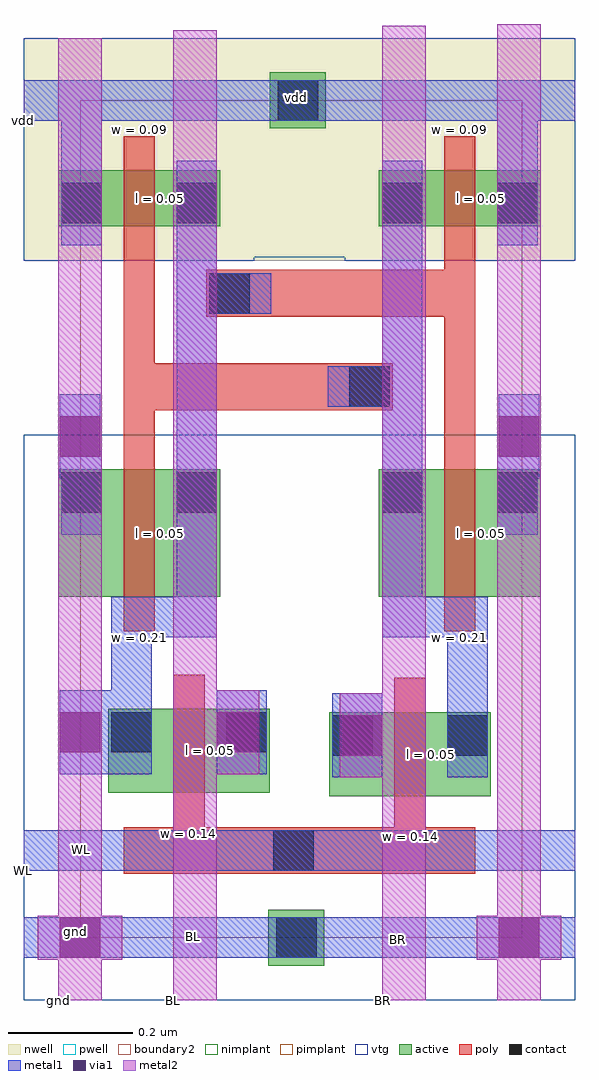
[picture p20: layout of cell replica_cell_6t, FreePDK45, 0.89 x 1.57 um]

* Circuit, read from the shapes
.subckt replica_cell_6t BL BR WL gnd vdd
M1 gnd n1 gnd gnd nfet w=0.205u l=0.05u
M2 BL WL gnd gnd nfet w=0.135u l=0.05u
M3 n1 WL BR gnd nfet w=0.135u l=0.05u
M4 gnd gnd n1 gnd nfet w=0.205u l=0.05u
M5 gnd n1 vdd vdd pfet w=0.09u l=0.05u
M6 vdd gnd n1 vdd pfet w=0.09u l=0.05u
.ends

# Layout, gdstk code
import gdstk
lib = gdstk.Library(unit=1e-6, precision=5e-10)
def R(c, l, rs):  # rectangles x0, y0, x1, y1
    for r in rs: c.add(gdstk.rectangle(r[:2], r[2:], *l))
active = (1, 0)
pwell = (2, 0)
nwell = (3, 0)
nimplant = (4, 0)
pimplant = (5, 0)
vtg = (6, 0)
poly = (9, 0)
contact = (10, 0)
metal1 = (11, 0)
via1 = (12, 0)
metal2 = (13, 0)
boundary2 = (239, 0)

replica_cell_6t = lib.new_cell('replica_cell_6t')
R(replica_cell_6t, active, [(0.3025,-0.045,0.3925,0.045), (0.4,0.2275,0.66,0.3625), (0.4,0.2275,0.475,0.3625), (0.4,0.2275,0.475,0.3625), (0.585,0.2275,0.66,0.3625), (0.585,0.2275,0.66,0.3625), (0.045,0.2325,0.305,0.3675), (0.045,0.2325,0.12,0.3675), (0.045,0.2325,0.12,0.3675), (0.23,0.2325,0.305,0.3675), (0.23,0.2325,0.305,0.3675), (0.4,0.2875,0.475,0.3625), (0.585,0.2875,0.66,0.3625), (0.045,0.2925,0.12,0.3675), (0.23,0.2925,0.305,0.3675), (-0.035,0.5475,0.225,0.7525), (-0.035,0.5475,0.04,0.7525), (-0.035,0.5475,0.04,0.7525), (0.15,0.5475,0.225,0.7525), (0.15,0.5475,0.225,0.7525), (0.48,0.5475,0.74,0.7525), (0.48,0.5475,0.555,0.7525), (0.48,0.5475,0.555,0.7525), (0.665,0.5475,0.74,0.7525), (0.665,0.5475,0.74,0.7525), (-0.035,0.6775,0.04,0.7525), (0.15,0.6775,0.225,0.7525), (0.48,0.6775,0.555,0.7525), (0.665,0.6775,0.74,0.7525), (-0.035,1.1425,0.04,1.2175), (-0.035,1.1425,0.225,1.2325), (-0.035,1.1425,0.04,1.2325), (-0.035,1.1425,0.04,1.2325), (0.15,1.1425,0.225,1.2175), (0.15,1.1425,0.225,1.2325), (0.15,1.1425,0.225,1.2325), (0.48,1.1425,0.555,1.2175), (0.48,1.1425,0.74,1.2325), (0.48,1.1425,0.555,1.2325), (0.48,1.1425,0.555,1.2325), (0.665,1.1425,0.74,1.2175), (0.665,1.1425,0.74,1.2325), (0.665,1.1425,0.74,1.2325), (0.305,1.3,0.395,1.39)])
R(replica_cell_6t, pwell, [(-0.09,-0.1,0.795,0.8075), (0.2475,-0.1,0.4475,0.1), (0.345,0.1725,0.715,0.4175), (-0.01,0.1775,0.36,0.4225), (-0.09,0.4925,0.28,0.8075), (0.425,0.4925,0.795,0.8075)])
R(replica_cell_6t, nwell, [(-0.09,1.0875,0.28,1.2875), (-0.09,1.0875,0.795,1.445), (0.425,1.0875,0.795,1.2875), (0.25,1.245,0.45,1.445)])
R(replica_cell_6t, nimplant, [(0.4,0.2275,0.66,0.3625), (0.045,0.2325,0.305,0.3675), (-0.035,0.5475,0.225,0.7525), (0.48,0.5475,0.74,0.7525), (0.305,1.3,0.395,1.39)])
R(replica_cell_6t, pimplant, [(0.3025,-0.045,0.3925,0.045), (-0.035,1.1425,0.225,1.2325), (0.48,1.1425,0.74,1.2325)])
R(replica_cell_6t, vtg, [(-0.09,-0.1,0.795,0.8075), (0.345,0.1725,0.715,0.4175), (-0.01,0.1775,0.36,0.4225), (-0.09,0.4925,0.28,0.8075), (0.425,0.4925,0.795,0.8075), (-0.09,1.0875,0.28,1.2875), (0.425,1.0875,0.795,1.2875), (-0.09,1.0925,0.795,1.445)])
R(replica_cell_6t, poly, [(0.07,0.1025,0.635,0.1775), (0.305,0.1025,0.38,0.1775), (0.505,0.1725,0.555,0.2275), (0.505,0.1725,0.555,0.4175), (0.15,0.1775,0.2,0.2325), (0.15,0.1775,0.2,0.4225), (0.505,0.3625,0.555,0.4175), (0.15,0.3675,0.2,0.4225), (0.07,0.4925,0.12,0.5475), (0.07,0.4925,0.12,0.8075), (0.585,0.4925,0.635,0.5475), (0.585,0.4925,0.635,0.8075), (0.07,0.7525,0.12,0.8075), (0.585,0.7525,0.635,0.8075), (0.07,0.8075,0.12,1.0925), (0.585,0.8075,0.635,1.0925), (0.12,0.8475,0.5025,0.9225), (0.4275,0.8475,0.5025,0.9225), (0.2025,0.9975,0.2775,1.0725), (0.2025,0.9975,0.585,1.0725), (0.07,1.0875,0.12,1.1425), (0.07,1.0875,0.12,1.2875), (0.585,1.0875,0.635,1.1425), (0.585,1.0875,0.635,1.2875), (0.07,1.2325,0.12,1.2875), (0.585,1.2325,0.635,1.2875)])
R(replica_cell_6t, contact, [(0.315,-0.0325,0.38,0.0325), (0.31,0.1075,0.375,0.1725), (0.405,0.2925,0.47,0.3575), (0.59,0.2925,0.655,0.3575), (0.05,0.2975,0.115,0.3625), (0.235,0.2975,0.3,0.3625), (-0.03,0.6825,0.035,0.7475), (0.155,0.6825,0.22,0.7475), (0.485,0.6825,0.55,0.7475), (0.67,0.6825,0.735,0.7475), (0.4325,0.8525,0.4975,0.9175), (0.2075,1.0025,0.2725,1.0675), (-0.03,1.1475,0.035,1.2125), (0.155,1.1475,0.22,1.2125), (0.485,1.1475,0.55,1.2125), (0.67,1.1475,0.735,1.2125), (0.3175,1.3125,0.3825,1.3775)])
R(replica_cell_6t, metal1, [(-0.09,-0.0325,0.795,0.0325), (-0.0675,-0.0325,0.0675,0.0325), (0.28,-0.0325,0.415,0.0325), (0.6375,-0.0325,0.7725,0.0325), (-0.09,0.1075,0.795,0.1725), (-0.09,0.1075,0.795,0.1725), (-0.035,0.1075,0.035,0.1725), (0.275,0.1075,0.41,0.1725), (0.405,0.2575,0.47,0.3925), (0.42,0.2575,0.485,0.3925), (0.59,0.2575,0.655,0.3925), (-0.0325,0.2625,0.0325,0.3975), (0,0.2625,0.0525,0.3975), (0.05,0.2625,0.115,0.3975), (0.22,0.2625,0.285,0.3975), (0.235,0.2625,0.3,0.3975), (0.59,0.3925,0.655,0.5475), (0.05,0.3975,0.115,0.5475), (0.115,0.4825,0.22,0.5475), (0.485,0.4825,0.59,0.5475), (0.155,0.5475,0.22,0.6475), (0.485,0.5475,0.55,0.6475), (-0.03,0.6475,0.035,0.7825), (0.155,0.6475,0.22,0.7825), (0.155,0.6475,0.22,1.1375), (0.485,0.6475,0.55,0.7825), (0.485,0.6475,0.55,1.1375), (0.67,0.6475,0.735,0.7825), (-0.0325,0.7375,0.0325,0.8725), (0.6725,0.7375,0.7375,0.8725), (0.3975,0.8525,0.5325,0.9175), (0.1725,1.0025,0.3075,1.0675), (-0.03,1.1125,0.035,1.2475), (0.155,1.1125,0.22,1.2475), (0.485,1.1125,0.55,1.2475), (0.67,1.1125,0.735,1.2475), (-0.03,1.2475,0.035,1.3125), (0.67,1.2475,0.735,1.3125), (-0.09,1.3125,0.795,1.3775), (-0.09,1.3125,0.795,1.3775), (0.2825,1.3125,0.4175,1.3775), (0.3175,1.3125,0.3825,1.3775)])
R(replica_cell_6t, via1, [(-0.0325,-0.0325,0.0325,0.0325), (0.6725,-0.0325,0.7375,0.0325), (0.42,0.2925,0.485,0.3575), (-0.0325,0.2975,0.0325,0.3625), (0.22,0.2975,0.285,0.3625), (-0.0325,0.7725,0.0325,0.8375), (0.6725,0.7725,0.7375,0.8375)])
R(replica_cell_6t, metal2, [(-0.035,-0.1,0.035,1.445), (-0.035,-0.1,0.035,1.445), (0.15,-0.1,0.22,1.4575), (0.15,-0.1,0.22,1.4575), (0.485,-0.1,0.555,1.465), (0.485,-0.1,0.555,1.465), (0.67,-0.1,0.74,1.4675), (-0.0675,-0.035,0.0675,0.035), (-0.035,-0.035,0.035,0.035), (0.6375,-0.035,0.7725,0.035), (0.15,-0.0325,0.22,0.0325), (0.485,-0.0325,0.555,0.0325), (0.4175,0.2575,0.4875,0.3925), (-0.035,0.2625,0.035,0.3975), (0.2175,0.2625,0.2875,0.3975), (-0.035,0.7375,0.035,0.8725), (0.67,0.7375,0.74,0.8725)])
R(replica_cell_6t, boundary2, [(0,0,0.71,1.345)])
replica_cell_6t.add(gdstk.Label('gnd', (-0.0075,0.01), layer=13, texttype=0))
replica_cell_6t.add(gdstk.Label('BR', (0.51,-0.0025), layer=13, texttype=0))
replica_cell_6t.add(gdstk.Label('BL', (0.1825,0.0025), layer=13, texttype=0))
replica_cell_6t.add(gdstk.Label('vdd', (0.3475,1.35), layer=11, texttype=0))
replica_cell_6t.add(gdstk.Label('WL', (0.0025,0.1425), layer=11, texttype=0))
replica_cell_6t.add(gdstk.Label('l = 0.05', (0.565,0.295), layer=230, texttype=0))
replica_cell_6t.add(gdstk.Label('w = 0.14', (0.53,0.1625), layer=230, texttype=0))
replica_cell_6t.add(gdstk.Label('l = 0.05', (0.21,0.3), layer=230, texttype=0))
replica_cell_6t.add(gdstk.Label('w = 0.14', (0.175,0.1675), layer=230, texttype=0))
replica_cell_6t.add(gdstk.Label('l = 0.05', (0.645,0.65), layer=230, texttype=0))
replica_cell_6t.add(gdstk.Label('w = 0.21', (0.61,0.4825), layer=230, texttype=0))
replica_cell_6t.add(gdstk.Label('l = 0.05', (0.13,0.65), layer=230, texttype=0))
replica_cell_6t.add(gdstk.Label('w = 0.21', (0.095,0.4825), layer=230, texttype=0))
replica_cell_6t.add(gdstk.Label('l = 0.05', (0.645,1.1875), layer=230, texttype=0))
replica_cell_6t.add(gdstk.Label('w = 0.09', (0.61,1.2975), layer=230, texttype=0))
replica_cell_6t.add(gdstk.Label('l = 0.05', (0.13,1.1875), layer=230, texttype=0))
replica_cell_6t.add(gdstk.Label('w = 0.09', (0.095,1.2975), layer=230, texttype=0))
replica_cell_6t.add(gdstk.Label('BL', (0.15,-0.1), layer=13, texttype=0))
replica_cell_6t.add(gdstk.Label('WL', (-0.09,0.1075), layer=11, texttype=0))
replica_cell_6t.add(gdstk.Label('gnd', (-0.035,-0.1), layer=13, texttype=0))
replica_cell_6t.add(gdstk.Label('vdd', (-0.09,1.3125), layer=11, texttype=0))
replica_cell_6t.add(gdstk.Label('BR', (0.485,-0.1), layer=13, texttype=0))

lib.write_gds('replica_cell_6t.gds')
